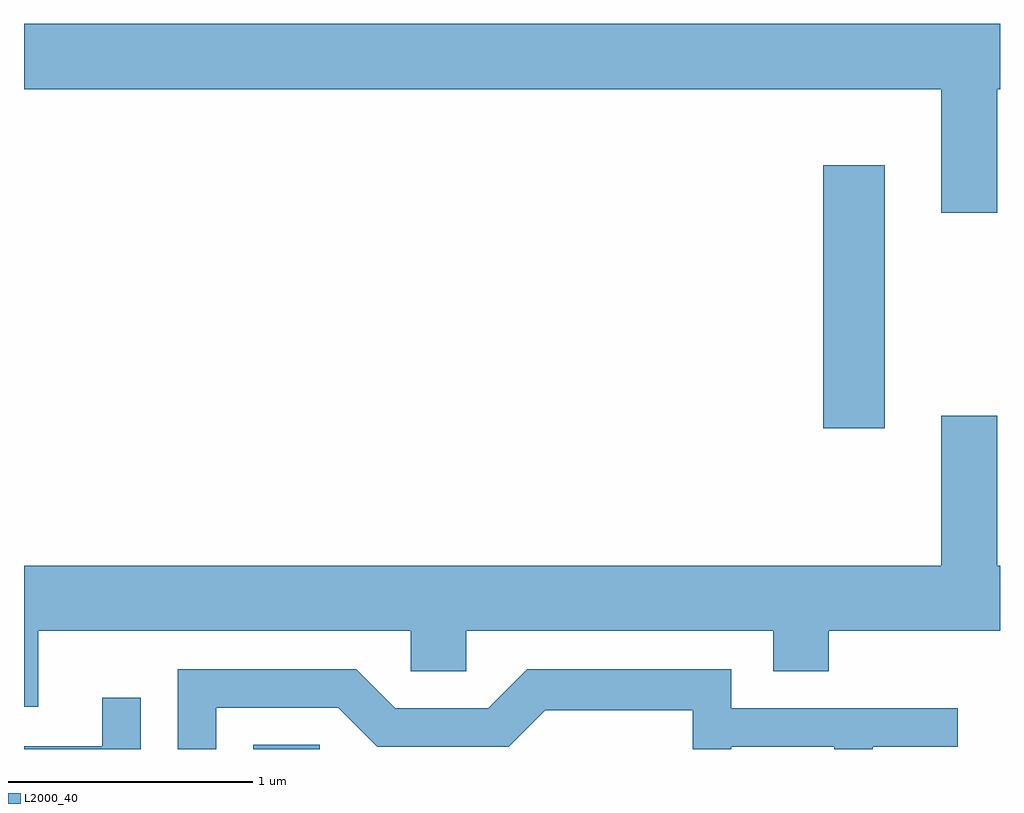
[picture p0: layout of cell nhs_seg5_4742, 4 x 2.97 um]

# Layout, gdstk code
import gdstk
lib = gdstk.Library(unit=1e-6, precision=1e-09)
def R(c, l, rs):  # rectangles x0, y0, x1, y1
    for r in rs: c.add(gdstk.rectangle(r[:2], r[2:], *l))
def P(c, l, *ps):  # polygons
    for p in ps: c.add(gdstk.Polygon(p, *l))
L2000_40 = (2000, 40)

nhs_seg5_4742 = lib.new_cell('nhs_seg5_4742')
R(nhs_seg5_4742, L2000_40, [(326.551,1474.072,326.823,1474.089), (328.886,1475.386,329.139,1476.464)])
P(nhs_seg5_4742, L2000_40, [(329.599,1476.776),(329.611,1476.776),(329.611,1477.044),(325.611,1477.044),(325.611,1476.776),(329.371,1476.776),(329.371,1476.271),(329.599,1476.271)],
  [(329.371,1475.439),(329.371,1474.824),(325.611,1474.824),(325.611,1474.246),(325.669,1474.246),(325.669,1474.556),(327.196,1474.556),(327.196,1474.391),(327.424,1474.391),(327.424,1474.556),(328.681,1474.556),(328.681,1474.391),(328.909,1474.391),(328.909,1474.556),(329.611,1474.556),(329.611,1474.824),(329.599,1474.824),(329.599,1475.439)],
  [(326.399,1474.241),(326.899,1474.241),(327.059,1474.081),(327.597,1474.081),(327.747,1474.231),(328.351,1474.231),(328.351,1474.072),(328.509,1474.072),(328.509,1474.081),(328.931,1474.081),(328.931,1474.072),(329.089,1474.072),(329.089,1474.081),(329.438,1474.081),(329.438,1474.239),(328.509,1474.239),(328.509,1474.399),(327.674,1474.399),(327.514,1474.239),(327.132,1474.239),(326.972,1474.399),(326.241,1474.399),(326.241,1474.072),(326.399,1474.072)],
  [(326.089,1474.283),(325.931,1474.283),(325.931,1474.084),(325.611,1474.084),(325.611,1474.072),(326.089,1474.072)])

lib.write_gds('nhs_seg5_4742.gds')
